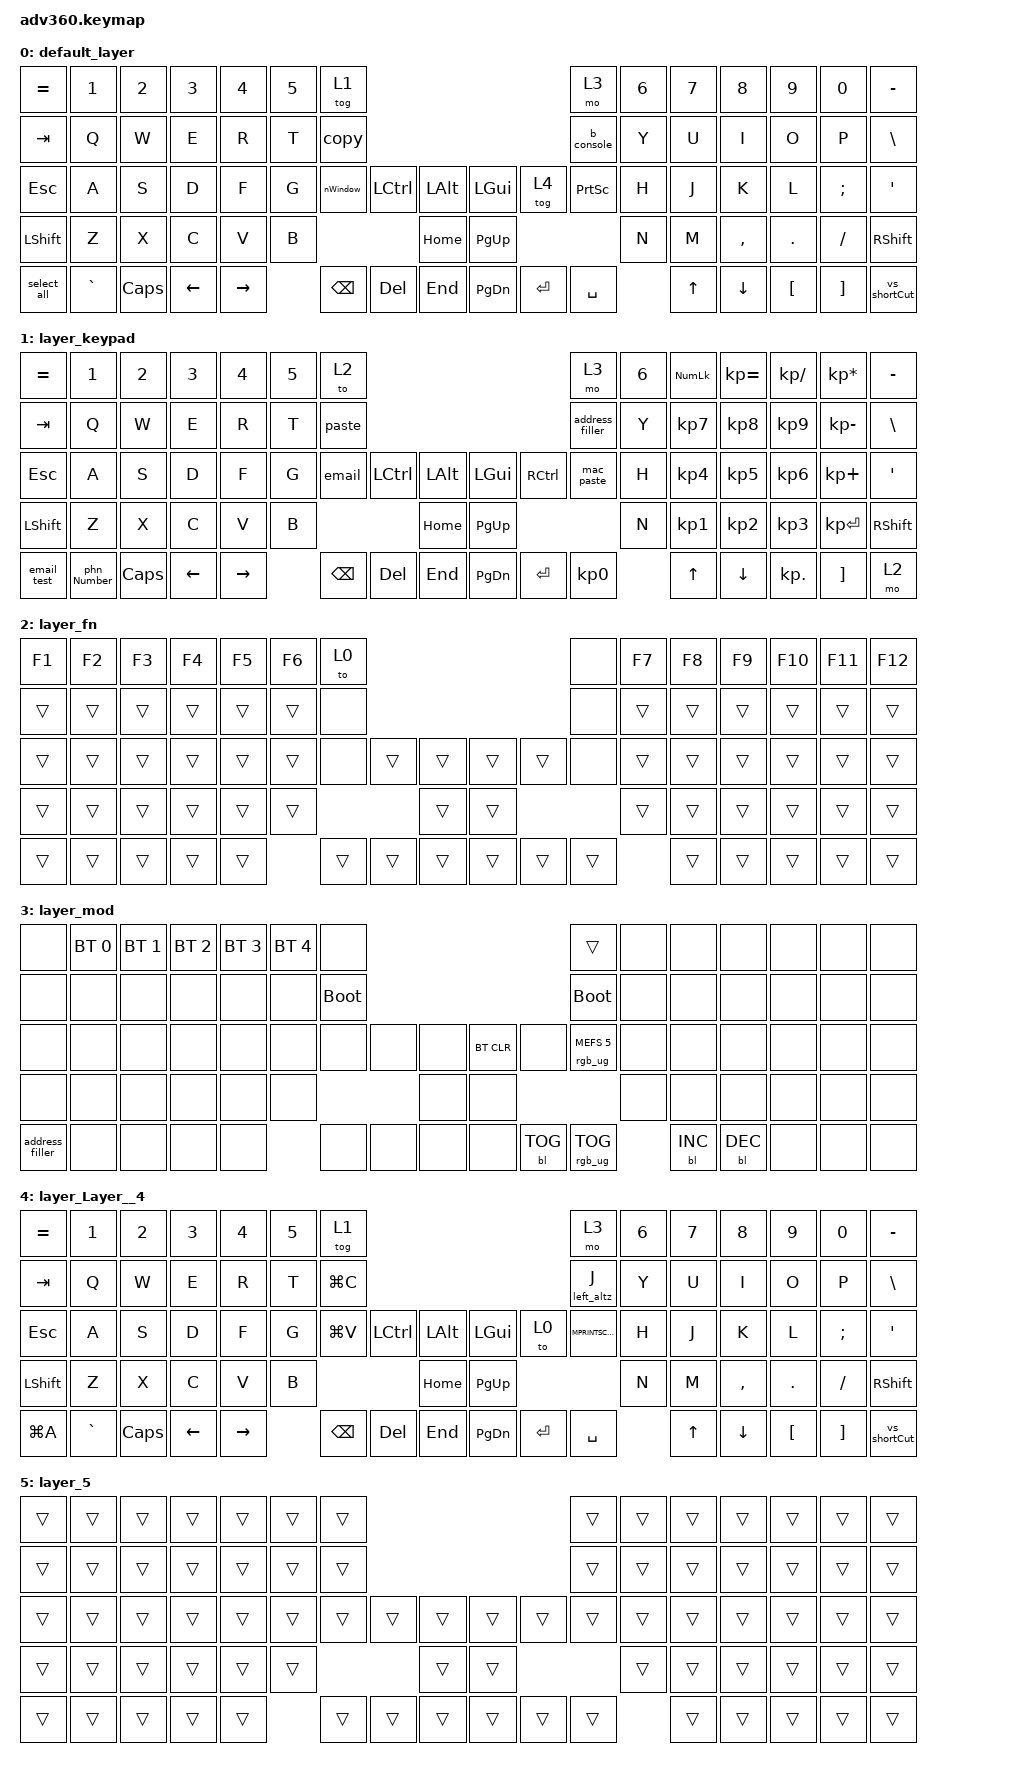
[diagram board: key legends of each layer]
/*
 * Copyright (c) 2020 The ZMK Contributors
 *
 * SPDX-License-Identifier: MIT
 */
/* THIS FILE WAS GENERATED!
 *
 * This file was generated automatically. You may or may not want to
 * edit it directly.
 */

#include <behaviors.dtsi>
#include <dt-bindings/zmk/backlight.h>
#include <dt-bindings/zmk/bt.h>
#include <dt-bindings/zmk/keys.h>
#include <dt-bindings/zmk/rgb.h>

/ {
    behaviors {
        #include "macros.dtsi"
    #include "version.dtsi"

        hm: homerow_mods {
            compatible = "zmk,behavior-hold-tap";
            label = "HOMEROW_MODS";
            #binding-cells = <2>;
            tapping-term-ms = <200>;
            quick_tap_ms = <175>;
            flavor = "tap-preferred";
            bindings = <&kp>, <&kp>;
        };
    };

    macros {
        shift: with_lshift {
            compatible = "zmk,behavior-macro-one-param";
            #binding-cells = <1>;
            bindings =
                <&macro_press>,
                <&kp LSHFT &kp LEFT_CONTROL>,
                <&macro_tap>,
                <&macro_param_1to1 &kp MACRO_PLACEHOLDER>,
                <&macro_release>,
                <&macro_param_1to1 &kp MACRO_PLACEHOLDER>,
                <&macro_release>,
                <&kp LSHFT &kp LEFT_CONTROL>;

            label = "KEY_PRESS_WITH_LEFT_SHIFT_MODIFIER";
        };

        b_console: b_console {
            compatible = "zmk,behavior-macro";
            #binding-cells = <0>;
            bindings = <&shift I>;
            label = "B_CONSOLE";
        };

        nWindow: nWindow {
            compatible = "zmk,behavior-macro";
            #binding-cells = <0>;
            bindings = <&shift N>;
            label = "NWINDOW";
        };

        favourites: favourites {
            compatible = "zmk,behavior-macro";
            #binding-cells = <0>;
            bindings = <&shift O>;
            label = "FAVOURITES";
        };

        controlOnly: controlOnly {
            compatible = "zmk,behavior-macro-one-param";
            #binding-cells = <1>;
            bindings =
                <&macro_press>,
                <&kp LEFT_CONTROL>,
                <&macro_tap>,
                <&macro_param_1to1 &kp MACRO_PLACEHOLDER>,
                <&macro_release>,
                <&kp LEFT_CONTROL>;

            label = "CONTROLONLY";
        };

        copy: copy {
            compatible = "zmk,behavior-macro";
            #binding-cells = <0>;
            bindings = <&controlOnly C>;
            label = "COPY";
        };

        paste: paste {
            compatible = "zmk,behavior-macro";
            #binding-cells = <0>;
            bindings = <&controlOnly V &to 0>;
            label = "PASTE";
        };

        kp_press: kp_press {
            compatible = "zmk,behavior-macro-one-param";
            #binding-cells = <1>;
            bindings =
                <&macro_press>,
                <&tog 0>,
                <&macro_tap>,
                <&macro_param_1to1 &kp MACRO_PLACEHOLDER>,
                <&macro_release>,
                <&tog 0>;

            label = "KP_PRESS";
        };

        select_all: select_all {
            compatible = "zmk,behavior-macro";
            #binding-cells = <0>;
            bindings = <&controlOnly A>;
            label = "SELECT_ALL";
        };

        vs_shortCut: vs_shortCut {
            compatible = "zmk,behavior-macro";
            #binding-cells = <0>;
            bindings = <&shift LC(P)>;
            label = "VS_SHORTCUT";
        };

        email: email {
            compatible = "zmk,behavior-macro";
            #binding-cells = <0>;
            bindings = <&none &kp Z &kp U &kp N &kp A &kp I &kp D &kp DOT &kp Y &kp U &kp S &kp U &kp F &kp AT &kp S &kp U &kp N &kp C &kp O &kp R &kp P &kp DOT &kp C &kp O &kp M &kp DOT &kp A &kp U &to 0>;
            label = "EMAIL";
        };

        control_x: cnt_x {
            compatible = "zmk,behavior-macro";
            #binding-cells = <0>;
            bindings = <&controlOnly X &to 0>;
            label = "CNT_X";
        };

        control_z: control_z {
            compatible = "zmk,behavior-macro";
            #binding-cells = <0>;
            bindings = <&controlOnly Z &to 0>;
            label = "CONTROL_Z";
        };

        email_test: email_test {
            compatible = "zmk,behavior-macro";
            #binding-cells = <0>;
            bindings = <&none &kp M &kp E &kp AT &kp T &kp E &kp S &kp T &kp DOT &kp C &kp O &kp M &to 0>;
            label = "EMAIL_TEST";
        };

        phn_Number: dummy_phnNumber {
            compatible = "zmk,behavior-macro";
            #binding-cells = <0>;
            bindings = <&none &kp N0 &kp N4 &kp N3 &kp N0 &kp N0 &kp N0 &kp N0 &kp N0 &kp N0 &kp N0 &to 0>;
            label = "P_PHNNUMBER";
        };

        address_filler: address_filler {
            compatible = "zmk,behavior-macro";
            #binding-cells = <0>;
            bindings = <&none &kp N1 &kp N1 &kp N1 &kp SPACE &kp R &kp O &kp B &kp E &kp R &kp T &kp S &kp O &kp N &kp SPACE &kp R &kp O &kp A &kp D &kp SPACE &kp B &kp A &kp S &kp S &kp SPACE &kp H &kp I &kp L &kp L &to 0>;
            label = "ADDRESS_FILLER";
        };

        mac_copy: mac_copy {
            compatible = "zmk,behavior-macro";
            #binding-cells = <0>;
            bindings = <&mac_key C &to 0>;
            label = "MAC_COPY";
        };

        mac_key: mac_key {
            compatible = "zmk,behavior-macro-one-param";
            #binding-cells = <1>;
            bindings =
                <&macro_press>,
                <&kp LEFT_GUI>,
                <&macro_tap>,
                <&macro_param_1to1 &kp MACRO_PLACEHOLDER>,
                <&macro_release>,
                <&kp LEFT_GUI>;

            label = "MAC_KEY";
        };

        mac_paste: mac_paste {
            compatible = "zmk,behavior-macro";
            #binding-cells = <0>;
            bindings = <&mac_key V &to 0>;
            label = "MAC_PASTE";
        };

        mac_select_All: mac_select_All {
            compatible = "zmk,behavior-macro";
            #binding-cells = <0>;
            bindings = <&mac_key A &to 0>;
            label = "MAC_SELECT_ALL";
        };

        left_altz: option_key {
            compatible = "zmk,behavior-macro-one-param";
            #binding-cells = <1>;
            bindings =
                <&macro_press>,
                <&kp LEFT_ALT &kp LEFT_COMMAND>,
                <&macro_tap>,
                <&macro_param_1to1 &kp MACRO_PLACEHOLDER>,
                <&macro_release>,
                <&kp LEFT_ALT &kp LEFT_COMMAND>;

            label = "OPTION_KEY";
        };

        MPRINTSCREEN: MPRINTSCREEN {
            compatible = "zmk,behavior-macro";
            #binding-cells = <0>;
            bindings = <&kp LS(LG(N5))>;
            label = "MPRINTSCREEN";
        };
    };

    keymap {
        compatible = "zmk,keymap";

        default_layer {
            bindings = <
&kp EQUAL    &kp N1     &kp N2    &kp N3    &kp N4     &kp N5  &tog 1                                                        &mo 3            &kp N6  &kp N7  &kp N8     &kp N9    &kp N0    &kp MINUS
&kp TAB      &kp Q      &kp W     &kp E     &kp R      &kp T   &copy                                                         &b_console       &kp Y   &kp U   &kp I      &kp O     &kp P     &kp BSLH
&kp ESC      &kp A      &kp S     &kp D     &kp F      &kp G   &nWindow       &kp LCTRL  &kp LALT      &kp LGUI   &tog 4     &kp PRINTSCREEN  &kp H   &kp J   &kp K      &kp L     &kp SEMI  &kp SQT
&kp LSHFT    &kp Z      &kp X     &kp C     &kp V      &kp B                             &kp HOME      &kp PG_UP                              &kp N   &kp M   &kp COMMA  &kp DOT   &kp FSLH  &kp RSHFT
&select_all  &kp GRAVE  &kp CAPS  &kp LEFT  &kp RIGHT          &kp BACKSPACE  &kp DEL    &kp END       &kp PG_DN  &kp ENTER  &kp SPACE                &kp UP  &kp DOWN   &kp LBKT  &kp RBKT  &vs_shortCut
            >;
        };

        layer_keypad {
            bindings = <
&kp EQUAL    &kp N1       &kp N2    &kp N3    &kp N4     &kp N5  &to 2                                                    &mo 3            &kp N6  &kp KP_NUM  &kp KP_EQUAL  &kp KP_DIVIDE  &kp KP_MULTIPLY  &kp MINUS
&kp TAB      &kp Q        &kp W     &kp E     &kp R      &kp T   &paste                                                   &address_filler  &kp Y   &kp KP_N7   &kp KP_N8     &kp KP_N9      &kp KP_MINUS     &kp BSLH
&kp ESC      &kp A        &kp S     &kp D     &kp F      &kp G   &email    &kp LCTRL  &kp LALT      &kp LGUI   &kp RCTRL  &mac_paste       &kp H   &kp KP_N4   &kp KP_N5     &kp KP_N6      &kp KP_PLUS      &kp SQT
&kp LSHFT    &kp Z        &kp X     &kp C     &kp V      &kp B                        &kp HOME      &kp PG_UP                              &kp N   &kp KP_N1   &kp KP_N2     &kp KP_N3      &kp KP_ENTER     &kp RSHFT
&email_test  &phn_Number  &kp CAPS  &kp LEFT  &kp RIGHT          &kp BSPC  &kp DEL    &kp END       &kp PG_DN  &kp ENTER  &kp KP_N0                &kp UP      &kp DOWN      &kp KP_DOT     &kp RBKT         &mo 2
            >;
        };

        layer_fn {
            bindings = <
&kp F1  &kp F2  &kp F3  &kp F4  &kp F5  &kp F6  &to 0                                       &none   &kp F7  &kp F8  &kp F9  &kp F10  &kp F11  &kp F12
&trans  &trans  &trans  &trans  &trans  &trans  &none                                       &none   &trans  &trans  &trans  &trans   &trans   &trans
&trans  &trans  &trans  &trans  &trans  &trans  &none   &trans  &trans      &trans  &trans  &none   &trans  &trans  &trans  &trans   &trans   &trans
&trans  &trans  &trans  &trans  &trans  &trans                  &trans      &trans                  &trans  &trans  &trans  &trans   &trans   &trans
&trans  &trans  &trans  &trans  &trans          &trans  &trans  &trans      &trans  &trans  &trans          &trans  &trans  &trans   &trans   &trans
            >;
        };

        layer_mod {
            bindings = <
&none            &bt BT_SEL 0  &bt BT_SEL 1  &bt BT_SEL 2  &bt BT_SEL 3  &bt BT_SEL 4  &none                                                  &trans                  &none  &none       &none       &none  &none  &none
&none            &none         &none         &none         &none         &none         &bootloader                                            &bootloader             &none  &none       &none       &none  &none  &none
&none            &none         &none         &none         &none         &none         &none        &none  &none      &bt BT_CLR  &none       &rgb_ug RGB_MEFS_CMD 5  &none  &none       &none       &none  &none  &none
&none            &none         &none         &none         &none         &none                             &none      &none                                           &none  &none       &none       &none  &none  &none
&address_filler  &none         &none         &none         &none                       &none        &none  &none      &none       &bl BL_TOG  &rgb_ug RGB_TOG                &bl BL_INC  &bl BL_DEC  &none  &none  &none
            >;
        };

        layer_Layer__4 {
            bindings = <
&kp EQUAL   &kp N1     &kp N2    &kp N3    &kp N4     &kp N5  &tog 1                                                        &mo 3          &kp N6  &kp N7  &kp N8     &kp N9    &kp N0    &kp MINUS
&kp TAB     &kp Q      &kp W     &kp E     &kp R      &kp T   &kp LG(C)                                                     &left_altz J   &kp Y   &kp U   &kp I      &kp O     &kp P     &kp BSLH
&kp ESCAPE  &kp A      &kp S     &kp D     &kp F      &kp G   &kp LG(V)      &kp LCTRL  &kp LALT      &kp LGUI   &to 0      &MPRINTSCREEN  &kp H   &kp J   &kp K      &kp L     &kp SEMI  &kp SQT
&kp LSHFT   &kp Z      &kp X     &kp C     &kp V      &kp B                             &kp HOME      &kp PG_UP                            &kp N   &kp M   &kp COMMA  &kp DOT   &kp FSLH  &kp RSHFT
&kp LG(A)   &kp GRAVE  &kp CAPS  &kp LEFT  &kp RIGHT          &kp BACKSPACE  &kp DEL    &kp END       &kp PG_DN  &kp ENTER  &kp SPACE              &kp UP  &kp DOWN   &kp LBKT  &kp RBKT  &vs_shortCut
            >;
        };

        layer_5 {
            bindings = <
&trans  &trans  &trans  &trans  &trans  &trans  &trans                                      &trans  &trans  &trans  &trans  &trans  &trans  &trans
&trans  &trans  &trans  &trans  &trans  &trans  &trans                                      &trans  &trans  &trans  &trans  &trans  &trans  &trans
&trans  &trans  &trans  &trans  &trans  &trans  &trans  &trans  &trans      &trans  &trans  &trans  &trans  &trans  &trans  &trans  &trans  &trans
&trans  &trans  &trans  &trans  &trans  &trans                  &trans      &trans                  &trans  &trans  &trans  &trans  &trans  &trans
&trans  &trans  &trans  &trans  &trans          &trans  &trans  &trans      &trans  &trans  &trans          &trans  &trans  &trans  &trans  &trans
            >;
        };
    };
};
